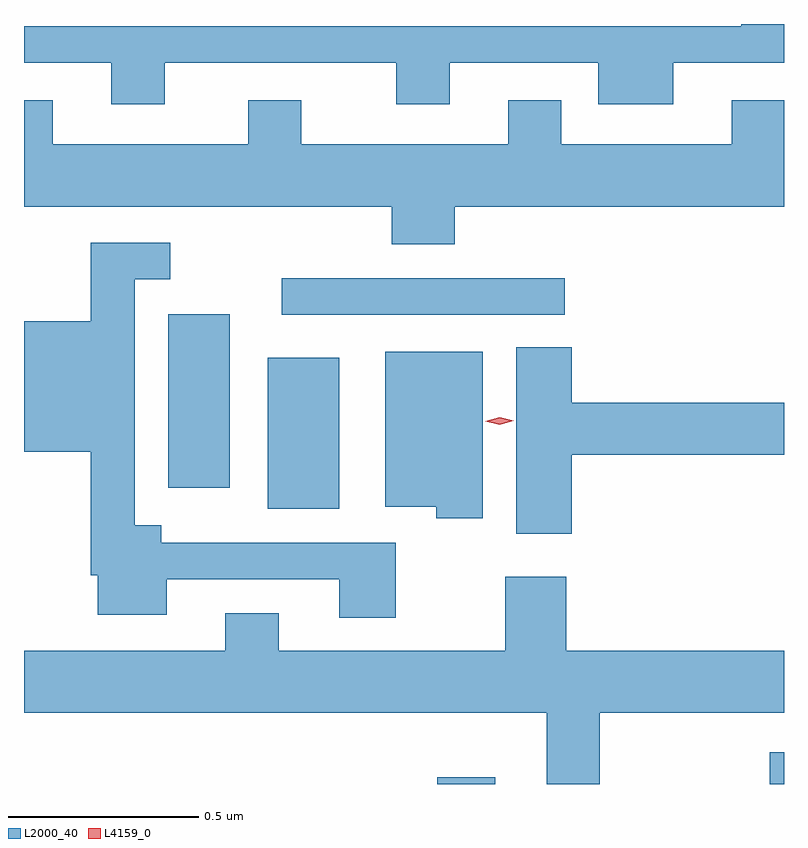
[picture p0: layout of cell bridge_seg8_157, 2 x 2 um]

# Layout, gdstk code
import gdstk
lib = gdstk.Library(unit=1e-6, precision=1e-09)
def R(c, l, rs):  # rectangles x0, y0, x1, y1
    for r in rs: c.add(gdstk.rectangle(r[:2], r[2:], *l))
def P(c, l, *ps):  # polygons
    for p in ps: c.add(gdstk.Polygon(p, *l))
L2000_40 = (2000, 40)
L4159_0 = (4159, 0)

bridge_seg8_157 = lib.new_cell('bridge_seg8_157')
R(bridge_seg8_157, L2000_40, [(605.147,1124.305,605.299,1124.323), (606.021,1124.305,606.059,1124.389), (604.7,1125.029,604.888,1125.427), (604.439,1125.084,604.6,1125.541), (604.737,1125.54,605.482,1125.636)])
P(bridge_seg8_157, L2000_40, [(604.429,1126.203),(605.039,1126.203),(605.039,1126.094),(605.179,1126.094),(605.179,1126.203),(605.57,1126.203),(605.57,1126.094),(605.767,1126.094),(605.767,1126.203),(606.059,1126.203),(606.059,1126.305),(605.946,1126.305),(605.946,1126.299),(604.059,1126.299),(604.059,1126.203),(604.289,1126.203),(604.289,1126.094),(604.429,1126.094)],
  [(605.192,1125.824),(606.059,1125.824),(606.059,1126.105),(605.921,1126.105),(605.921,1125.988),(605.473,1125.988),(605.473,1126.105),(605.333,1126.105),(605.333,1125.988),(604.789,1125.988),(604.789,1126.105),(604.649,1126.105),(604.649,1125.988),(604.135,1125.988),(604.135,1126.105),(604.059,1126.105),(604.059,1125.824),(605.027,1125.824),(605.027,1125.725),(605.192,1125.725)],
  [(605.037,1124.94),(604.42,1124.94),(604.42,1124.986),(604.35,1124.986),(604.35,1125.283),(604.351,1125.283),(604.351,1125.633),(604.444,1125.633),(604.444,1125.729),(604.234,1125.729),(604.234,1125.523),(604.059,1125.523),(604.059,1125.179),(604.234,1125.179),(604.234,1124.854),(604.253,1124.854),(604.253,1124.75),(604.435,1124.75),(604.435,1124.844),(604.889,1124.844),(604.889,1124.742),(605.037,1124.742)],
  [(605.501,1125.172),(606.059,1125.172),(606.059,1125.308),(605.501,1125.308),(605.501,1125.455),(605.354,1125.455),(605.354,1124.964),(605.501,1124.964)],
  [(605.266,1125.442),(605.009,1125.442),(605.009,1125.035),(605.144,1125.035),(605.144,1125.005),(605.266,1125.005)],
  [(605.574,1124.492),(606.059,1124.492),(606.059,1124.656),(605.486,1124.656),(605.486,1124.851),(605.326,1124.851),(605.326,1124.656),(604.729,1124.656),(604.729,1124.755),(604.589,1124.755),(604.589,1124.656),(604.059,1124.656),(604.059,1124.492),(605.435,1124.492),(605.435,1124.305),(605.574,1124.305)])
P(bridge_seg8_157, L4159_0, [(605.311,1125.25),(605.273,1125.26),(605.273,1125.26),(605.273,1125.26),(605.311,1125.27),(605.348,1125.261),(605.348,1125.261),(605.348,1125.261)])

lib.write_gds('bridge_seg8_157.gds')
